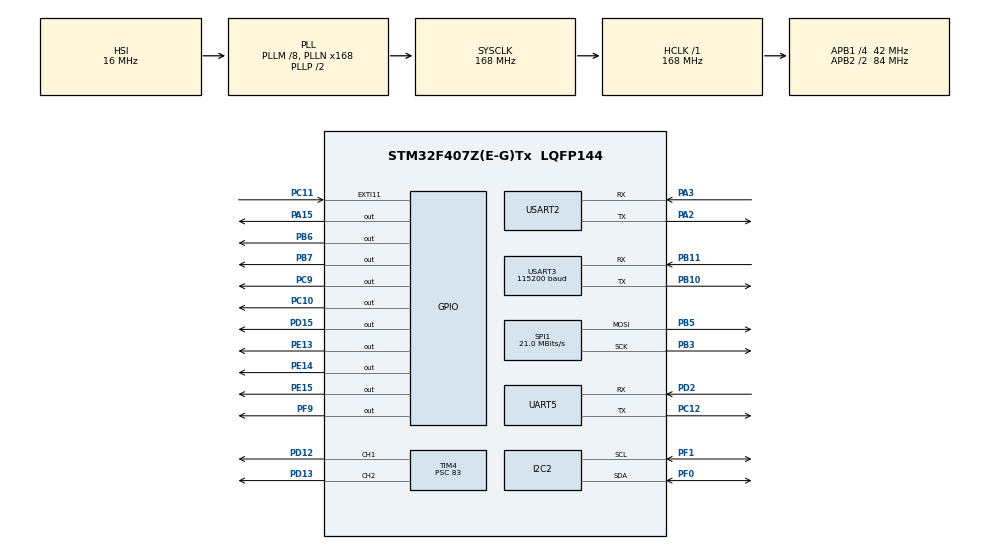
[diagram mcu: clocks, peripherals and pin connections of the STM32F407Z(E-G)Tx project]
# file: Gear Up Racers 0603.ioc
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Dma.Request0=USART2_RX
Dma.Request1=UART5_RX
Dma.UART5_RX.1.Direction=DMA_PERIPH_TO_MEMORY
Dma.UART5_RX.1.FIFOMode=DMA_FIFOMODE_DISABLE
Dma.UART5_RX.1.Instance=DMA1_Stream0
Dma.UART5_RX.1.MemDataAlignment=DMA_MDATAALIGN_BYTE
Dma.UART5_RX.1.MemInc=DMA_MINC_ENABLE
Dma.UART5_RX.1.Mode=DMA_CIRCULAR
Dma.UART5_RX.1.PeriphDataAlignment=DMA_PDATAALIGN_BYTE
Dma.UART5_RX.1.PeriphInc=DMA_PINC_DISABLE
Dma.UART5_RX.1.Priority=DMA_PRIORITY_LOW
Dma.USART2_RX.0.Direction=DMA_PERIPH_TO_MEMORY
Dma.USART2_RX.0.FIFOMode=DMA_FIFOMODE_DISABLE
Dma.USART2_RX.0.Instance=DMA1_Stream5
Dma.USART2_RX.0.MemDataAlignment=DMA_MDATAALIGN_BYTE
Dma.USART2_RX.0.MemInc=DMA_MINC_ENABLE
Dma.USART2_RX.0.Mode=DMA_CIRCULAR
Dma.USART2_RX.0.PeriphDataAlignment=DMA_PDATAALIGN_BYTE
Dma.USART2_RX.0.PeriphInc=DMA_PINC_DISABLE
Dma.USART2_RX.0.Priority=DMA_PRIORITY_LOW
Mcu.Family=STM32F4
Mcu.Name=STM32F407Z(E-G)Tx
Mcu.Package=LQFP144
NVIC.DMA1_Stream0_IRQn=true\:0\:0\:false\:false\:true\:false\:true\:true
NVIC.DMA1_Stream5_IRQn=true\:0\:0\:false\:false\:true\:false\:true\:true
NVIC.EXTI15_10_IRQn=true\:0\:0\:false\:false\:true\:true\:true\:true
NVIC.PriorityGroup=NVIC_PRIORITYGROUP_4
NVIC.TIM3_IRQn=true\:0\:0\:false\:false\:true\:true\:true\:true
NVIC.UART5_IRQn=true\:0\:0\:false\:false\:true\:true\:true\:true
NVIC.USART2_IRQn=true\:0\:0\:false\:false\:true\:true\:true\:true
NVIC.USART3_IRQn=true\:0\:0\:false\:false\:true\:true\:true\:true
PA13.Mode=Serial_Wire
PA13.Signal=SYS_JTMS-SWDIO
PA14.Mode=Serial_Wire
PA14.Signal=SYS_JTCK-SWCLK
PA15.GPIO_Speed=GPIO_SPEED_FREQ_VERY_HIGH
PA15.Signal=GPIO_Output
PA2.Mode=Asynchronous
PA2.Signal=USART2_TX
PA3.Mode=Asynchronous
PA3.Signal=USART2_RX
PB10.GPIO_PuPd=GPIO_PULLUP
PB10.GPIO_Speed=GPIO_SPEED_FREQ_HIGH
PB10.Mode=Asynchronous
PB10.Signal=USART3_TX
PB11.GPIO_PuPd=GPIO_PULLUP
PB11.GPIO_Speed=GPIO_SPEED_FREQ_HIGH
PB11.Mode=Asynchronous
PB11.Signal=USART3_RX
PB3.Mode=TX_Only_Simplex_Unidirect_Master
PB3.Signal=SPI1_SCK
PB5.Mode=TX_Only_Simplex_Unidirect_Master
PB5.Signal=SPI1_MOSI
PB6.GPIO_Speed=GPIO_SPEED_FREQ_VERY_HIGH
PB6.Signal=GPIO_Output
PB7.GPIO_Speed=GPIO_SPEED_FREQ_VERY_HIGH
PB7.Signal=GPIO_Output
PC10.Signal=GPIO_Output
PC11.GPIO_ModeDefaultEXTI=GPIO_MODE_IT_RISING_FALLING
PC11.Signal=GPXTI11
PC12.Mode=Asynchronous
PC12.Signal=UART5_TX
PC9.PinState=GPIO_PIN_SET
PC9.Signal=GPIO_Output
PD12.Signal=S_TIM4_CH1
PD13.Signal=S_TIM4_CH2
PD15.Signal=GPIO_Output
PD2.Mode=Asynchronous
PD2.Signal=UART5_RX
PE13.Signal=GPIO_Output
PE14.Signal=GPIO_Output
PE15.Signal=GPIO_Output
PF0.Mode=I2C
PF0.Signal=I2C2_SDA
PF1.Mode=I2C
PF1.Signal=I2C2_SCL
PF9.PinState=GPIO_PIN_SET
PF9.Signal=GPIO_Output
ProjectManager.HeapSize=0x200
ProjectManager.StackSize=0x400
ProjectManager.TargetToolchain=STM32CubeIDE
RCC.48MHZClocksFreq_Value=84000000
RCC.AHBFreq_Value=168000000
RCC.APB1CLKDivider=RCC_HCLK_DIV4
RCC.APB1Freq_Value=42000000
RCC.APB1TimFreq_Value=84000000
RCC.APB2CLKDivider=RCC_HCLK_DIV2
RCC.APB2Freq_Value=84000000
RCC.APB2TimFreq_Value=168000000
RCC.CortexFreq_Value=168000000
RCC.HCLKFreq_Value=168000000
RCC.HSE_VALUE=25000000
RCC.HSI_VALUE=16000000
RCC.LSE_VALUE=32768
RCC.PLLM=8
RCC.PLLN=168
RCC.SYSCLKFreq_VALUE=168000000
RCC.SYSCLKSource=RCC_SYSCLKSOURCE_PLLCLK
RCC.VCOOutputFreq_Value=336000000
SH.S_TIM4_CH1.0=TIM4_CH1,PWM Generation1 CH1
SH.S_TIM4_CH2.0=TIM4_CH2,PWM Generation2 CH2
SPI1.BaudRatePrescaler=SPI_BAUDRATEPRESCALER_4
SPI1.CalculateBaudRate=21.0 MBits/s
SPI1.Direction=SPI_DIRECTION_2LINES
SPI1.Mode=SPI_MODE_MASTER
SPI1.VirtualType=VM_MASTER
TIM3.AutoReloadPreload=TIM_AUTORELOAD_PRELOAD_ENABLE
TIM3.Period=9999
TIM3.Prescaler=8399
TIM4.Channel-PWM\ Generation1\ CH1=TIM_CHANNEL_1
TIM4.Channel-PWM\ Generation2\ CH2=TIM_CHANNEL_2
TIM4.Period=999
TIM4.Prescaler=83
UART5.VirtualMode=Asynchronous
USART2.VirtualMode=VM_ASYNC
USART3.BaudRate=115200
USART3.VirtualMode=VM_ASYNC
VP_TIM3_VS_ClockSourceINT.Mode=Internal
VP_TIM4_VS_ClockSourceINT.Mode=Internal
board=custom

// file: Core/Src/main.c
/* USER CODE BEGIN Header */
/**
  ******************************************************************************
  * @file           : main.c
  * @brief          : Main program body
  ******************************************************************************
  */
/* USER CODE END Header */

#include "main.h"
#include "dma.h"
#include "i2c.h"
#include "spi.h"
#include "tim.h"
#include "usart.h"
#include "gpio.h"

/* USER CODE BEGIN Includes */
#include "lcd.h"
#include "hlk_ld2410s.h"
#include "track.h"
#include "obstacle.h"
#include "lora.h"
#include "us100.h"
#include "route_draw.h"
/* USER CODE END Includes */

/* USER CODE BEGIN PTD */
uint8_t rx_byte1;
uint8_t rx_byte2;
/* USER CODE END PTD */

/* USER CODE BEGIN PD */
#define FINISH_TRIGGER_DIST_CM   50.0f
#define FINISH_STRAIGHT_MS       3000U
#define FINISH_STRAIGHT_SPEED    260
#define FINISH_SENSOR_I2C_ADDR   (0x5D << 1)
#define FINISH_SENSOR_DATA_REG   0x05
/* USER CODE END PD */

void SystemClock_Config(void);

/* USER CODE BEGIN PFP */
int Track_IsFinishStraightActive(void);
void Track_FinishControlTask(void);
static int Finish_UltrasonicTask(void);
static void Finish_ShowEndScreen(void);
static void DebugLed_Update(uint8_t radar_stage, uint8_t blink_state);
/* USER CODE END PFP */

int main(void)
{
  HAL_Init();
  SystemClock_Config();

  MX_GPIO_Init();
  MX_DMA_Init();
  MX_SPI1_Init();
  MX_USART2_UART_Init();
  MX_UART5_Init();
  MX_I2C2_Init();
  MX_TIM4_Init();
  MX_TIM3_Init();
  MX_USART3_UART_Init();

  /* USER CODE BEGIN 2 */
  LCD_Init();
  LD2410S_Init();

  huart2.hdmarx = NULL;
  huart5.hdmarx = NULL;
  __HAL_UART_CLEAR_OREFLAG(&huart2);
  __HAL_UART_CLEAR_OREFLAG(&huart5);
  HAL_UART_Receive_IT(&huart2, &rx_byte1, 1);
  HAL_UART_Receive_IT(&huart5, &rx_byte2, 1);

  HCSR04_Init();
  LoRa_Init();
  HAL_TIM_Base_Start_IT(&htim3);

  HAL_Delay(200);
  Track_Init();
  Obstacle_Init();
  //Obstacle_ActivateRadar();
  HAL_Delay(200);
  /* USER CODE END 2 */

  /* USER CODE BEGIN WHILE */
  static CarState_t last_state = (CarState_t)-1;
  static uint8_t radar_activated = 0;
  static uint32_t last_blink_tick = 0;
  static uint8_t blink_state = 0;

  while (1)
  {
      uint8_t radar_stage = Track_GetRadarStage();
      HCSR04_Task();

      if (!radar_activated && Track_ShouldActivateRadar()) {
          Obstacle_ActivateRadar();
          radar_activated = 1;
      }

      if (HAL_GetTick() - last_blink_tick >= 200U) {
          last_blink_tick = HAL_GetTick();
          blink_state = !blink_state;
      }

      if (Track_IsFinished()) {
          Motor_Stop();
          continue;
      }

      if (Track_IsFinishStraightActive()) {
          Track_FinishControlTask();
          DebugLed_Update(radar_stage, blink_state);
          Route_Draw_Task();
          HCSR04_Task();
          HAL_Delay(10);
          continue;
      }

      Obstacle_ManagerLoop();
      DebugLed_Update(radar_stage, blink_state);

      if (last_state != g_car_state) {
          LCD_FillRect(0, 0, 320, 240, BLACK);
          if (g_car_state == CAR_MODE_NORMAL_TRACKING) {
              Route_Draw_Init();
          }
          last_state = g_car_state;
      }

      if (Finish_UltrasonicTask()) {
          Route_Draw_Task();
          HAL_Delay(10);
          continue;
      }

      if (g_car_state != CAR_MODE_AVOIDING) {
          Track_Control();
      }

      if (g_car_state == CAR_MODE_NORMAL_TRACKING) {
          Route_Draw_Task();
      } else {
          Draw_Energy_Spectrum();
      }

      HAL_Delay(10);
    /* USER CODE END WHILE */

  }
}

void SystemClock_Config(void)
{
  RCC_OscInitTypeDef RCC_OscInitStruct = {0};
  RCC_ClkInitTypeDef RCC_ClkInitStruct = {0};

  __HAL_RCC_PWR_CLK_ENABLE();
  __HAL_PWR_VOLTAGESCALING_CONFIG(PWR_REGULATOR_VOLTAGE_SCALE1);

  RCC_OscInitStruct.OscillatorType = RCC_OSCILLATORTYPE_HSI;
  RCC_OscInitStruct.HSIState = RCC_HSI_ON;
  RCC_OscInitStruct.HSICalibrationValue = RCC_HSICALIBRATION_DEFAULT;
  RCC_OscInitStruct.PLL.PLLState = RCC_PLL_ON;
  RCC_OscInitStruct.PLL.PLLSource = RCC_PLLSOURCE_HSI;
  RCC_OscInitStruct.PLL.PLLM = 8;
  RCC_OscInitStruct.PLL.PLLN = 168;
  RCC_OscInitStruct.PLL.PLLP = RCC_PLLP_DIV2;
  RCC_OscInitStruct.PLL.PLLQ = 4;
  if (HAL_RCC_OscConfig(&RCC_OscInitStruct) != HAL_OK)
  {
    Error_Handler();
  }

  RCC_ClkInitStruct.ClockType = RCC_CLOCKTYPE_HCLK|RCC_CLOCKTYPE_SYSCLK
                              |RCC_CLOCKTYPE_PCLK1|RCC_CLOCKTYPE_PCLK2;
  RCC_ClkInitStruct.SYSCLKSource = RCC_SYSCLKSOURCE_PLLCLK;
  RCC_ClkInitStruct.AHBCLKDivider = RCC_SYSCLK_DIV1;
  RCC_ClkInitStruct.APB1CLKDivider = RCC_HCLK_DIV4;
  RCC_ClkInitStruct.APB2CLKDivider = RCC_HCLK_DIV2;

  if (HAL_RCC_ClockConfig(&RCC_ClkInitStruct, FLASH_LATENCY_5) != HAL_OK)
  {
    Error_Handler();
  }
}

/* USER CODE BEGIN 4 */
typedef enum {
    FINISH_WAIT_TRIGGER = 0,
    FINISH_DRIVE_STRAIGHT,
    FINISH_STOPPED
} FinishState_t;

static FinishState_t g_finish_state = FINISH_WAIT_TRIGGER;
static uint32_t g_finish_start_tick = 0;
static uint32_t g_finish_trigger_seq = 0;
static uint8_t g_finish_display_done = 0;

static int Finish_ReadLineRaw(uint8_t *raw)
{
    return HAL_I2C_Mem_Read(&hi2c2, FINISH_SENSOR_I2C_ADDR, FINISH_SENSOR_DATA_REG,
                            I2C_MEMADD_SIZE_8BIT, raw, 1, 10) == HAL_OK;
}

static int Finish_LineIsLost(void)
{
    uint8_t raw = 0;

    if (!Finish_ReadLineRaw(&raw)) {
        return 0;
    }

    return raw == 0x00;
}

static int Finish_UltrasonicTask(void)
{
    if (g_finish_state == FINISH_WAIT_TRIGGER) {
        if (!g_avoidance_done) {
            g_finish_trigger_seq = hcsr04_sample_seq;
            return 0;
        }

        if (hcsr04_sample_seq != g_finish_trigger_seq
            && distance_cm > 0.0f
            && distance_cm < FINISH_TRIGGER_DIST_CM
            && Finish_LineIsLost())
        {
            g_finish_start_tick = HAL_GetTick();
            g_finish_state = FINISH_DRIVE_STRAIGHT;
            Motor_SetBoth(FINISH_STRAIGHT_SPEED, FINISH_STRAIGHT_SPEED);
            return 1;
        }
        return 0;
    }

    return g_finish_state == FINISH_DRIVE_STRAIGHT;
}

static void Finish_DrawBlockLetter(uint16_t x, uint16_t y, uint8_t scale,
                                   const char rows[7], uint16_t color)
{
    for (uint8_t row = 0; row < 7; row++) {
        for (uint8_t col = 0; col < 5; col++) {
            if (rows[row * 5 + col] == '1') {
                LCD_FillRect(x + col * scale, y + row * scale, scale - 1, scale - 1, color);
            }
        }
    }
}

static void Finish_ShowEndScreen(void)
{
    static const char win_w[] =
        "10001"
        "10001"
        "10001"
        "10101"
        "10101"
        "11011"
        "10001";
    static const char win_i[] =
        "11111"
        "00100"
        "00100"
        "00100"
        "00100"
        "00100"
        "11111";
    static const char win_n[] =
        "10001"
        "11001"
        "10101"
        "10011"
        "10001"
        "10001"
        "10001";
    static const uint16_t name_zhou[] = {0x5468, 0x8F69, 0x5B87};
    static const uint16_t name_cui[]  = {0x5D14, 0x5BB8, 0x8D6B};
    static const uint16_t name_wang[] = {0x738B, 0x5609, 0x6210};
    static const uint16_t name_shen[] = {0x6C88, 0x9633};
    static const uint16_t name_yi[]   = {0x738B, 0x9038, 0x9633};

    LCD_FillRect(0, 0, 107, 240, RED);
    LCD_FillRect(107, 0, 107, 240, GREEN);
    LCD_FillRect(214, 0, 106, 240, BLUE);
    Finish_DrawBlockLetter(18, 64, 13, win_w, WHITE);
    Finish_DrawBlockLetter(126, 64, 13, win_i, BLACK);
    Finish_DrawBlockLetter(232, 64, 13, win_n, YELLOW);
    HAL_Delay(1500);

    LCD_FillRect(0, 0, 320, 80, RED);
    LCD_FillRect(0, 80, 320, 80, GREEN);
    LCD_FillRect(0, 160, 320, 80, BLUE);
    LCD_ShowStringScaled(112, 16, "Gear", 3, WHITE, RED);
    LCD_ShowStringScaled(136, 96, "Up", 3, BLACK, GREEN);
    LCD_ShowStringScaled(88, 176, "Racers", 3, YELLOW, BLUE);
    HAL_Delay(1500);

    LCD_Clear(BLACK);
    LCD_ShowHz32Line(106, 20, name_zhou, 3, WHITE, BLACK);
    LCD_ShowHz32Line(106, 62, name_cui, 3, CYAN, BLACK);
    LCD_ShowHz32Line(106, 104, name_wang, 3, YELLOW, BLACK);
    LCD_ShowHz32Line(124, 146, name_shen, 2, GREEN, BLACK);
    LCD_ShowHz32Line(106, 188, name_yi, 3, MAGENTA, BLACK);
}

static void DebugLed_Update(uint8_t radar_stage, uint8_t blink_state)
{
    if (g_car_state == CAR_MODE_AVOIDING) {
        HAL_GPIO_WritePin(GPIOF, GPIO_PIN_9, blink_state ? GPIO_PIN_SET : GPIO_PIN_RESET);
        HAL_GPIO_WritePin(GPIOF, GPIO_PIN_10, blink_state ? GPIO_PIN_RESET : GPIO_PIN_SET);
        return;
    }

    if (radar_stage == 0U) {
        GPIO_PinState pin_val = blink_state ? GPIO_PIN_RESET : GPIO_PIN_SET;
        HAL_GPIO_WritePin(GPIOF, GPIO_PIN_9, pin_val);
        HAL_GPIO_WritePin(GPIOF, GPIO_PIN_10, pin_val);
    } else if (radar_stage == 1U) {
        HAL_GPIO_WritePin(GPIOF, GPIO_PIN_10, GPIO_PIN_SET);
        HAL_GPIO_WritePin(GPIOF, GPIO_PIN_9, blink_state ? GPIO_PIN_RESET : GPIO_PIN_SET);
    } else {
        HAL_GPIO_WritePin(GPIOF, GPIO_PIN_9, GPIO_PIN_SET);
        HAL_GPIO_WritePin(GPIOF, GPIO_PIN_10, blink_state ? GPIO_PIN_RESET : GPIO_PIN_SET);
    }
}

int Track_IsFinished(void)
{
    if (g_finish_state == FINISH_STOPPED) {
        return 1;
    }

    if (g_finish_state == FINISH_DRIVE_STRAIGHT) {
        if (HAL_GetTick() - g_finish_start_tick >= FINISH_STRAIGHT_MS) {
            g_finish_state = FINISH_STOPPED;
            Motor_Stop();
            if (!g_finish_display_done) {
                g_finish_display_done = 1;
                Finish_ShowEndScreen();
            }
            return 1;
        }
        return 0;
    }

    return 0;
}

int Track_IsFinishStraightActive(void)
{
    return g_finish_state == FINISH_DRIVE_STRAIGHT;
}

void Track_FinishControlTask(void)
{
    if (g_finish_state == FINISH_DRIVE_STRAIGHT) {
        Motor_SetBoth(FINISH_STRAIGHT_SPEED, FINISH_STRAIGHT_SPEED);
    }
}

void HAL_TIM_PeriodElapsedCallback(TIM_HandleTypeDef *htim)
{
    HCSR04_TIM_Callback(htim);
}

void HAL_GPIO_EXTI_Callback(uint16_t GPIO_Pin)
{
    HCSR04_EXTI_Callback(GPIO_Pin);
}

void HAL_UART_RxCpltCallback(UART_HandleTypeDef *huart)
{
    if (huart->Instance == USART2) {
        LD2410S_ParseByte(&radar2, rx_byte1);
        HAL_UART_Receive_IT(&huart2, &rx_byte1, 1);
    } else if (huart->Instance == UART5) {
        LD2410S_ParseByte(&radar1, rx_byte2);
        HAL_UART_Receive_IT(&huart5, &rx_byte2, 1);
    }
}

void HAL_UART_ErrorCallback(UART_HandleTypeDef *huart)
{
    __HAL_UART_CLEAR_OREFLAG(huart);
    __HAL_UART_CLEAR_NEFLAG(huart);
    __HAL_UART_CLEAR_FEFLAG(huart);
    HAL_UART_AbortReceive(huart);

    if (huart->Instance == USART2) {
        HAL_UART_Receive_IT(&huart2, &rx_byte1, 1);
    } else if (huart->Instance == UART5) {
        HAL_UART_Receive_IT(&huart5, &rx_byte2, 1);
    }
}
/* USER CODE END 4 */

void Error_Handler(void)
{
  __disable_irq();
  while (1)
  {
  }
}
